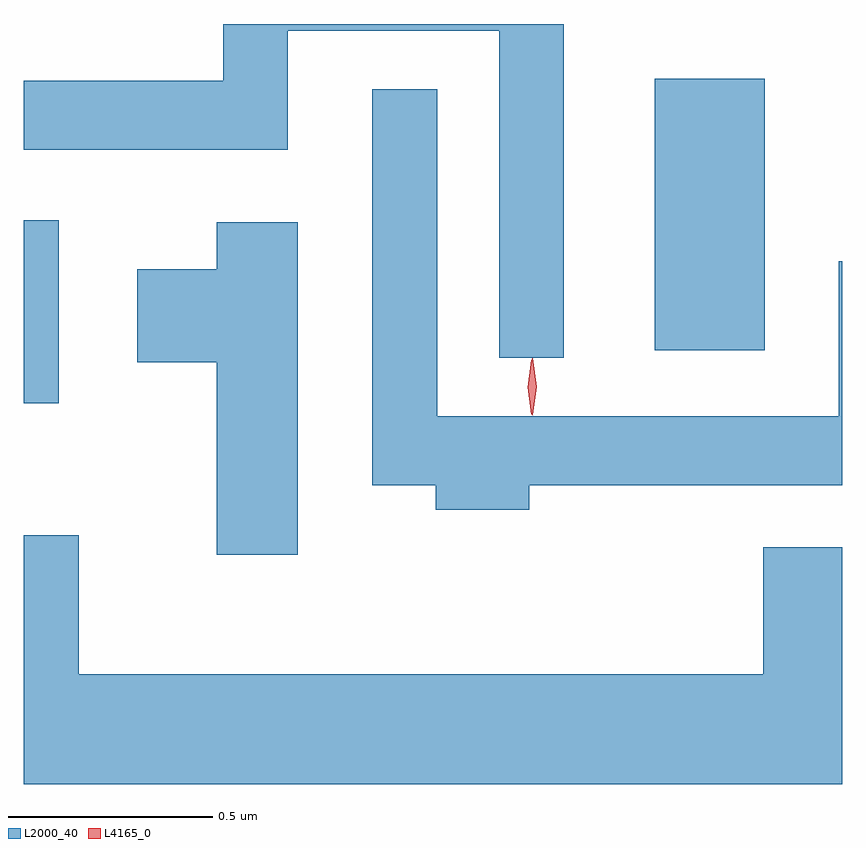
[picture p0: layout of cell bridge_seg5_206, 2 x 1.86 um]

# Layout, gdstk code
import gdstk
lib = gdstk.Library(unit=1e-6, precision=1e-09)
def R(c, l, rs):  # rectangles x0, y0, x1, y1
    for r in rs: c.add(gdstk.rectangle(r[:2], r[2:], *l))
def P(c, l, *ps):  # polygons
    for p in ps: c.add(gdstk.Polygon(p, *l))
L2000_40 = (2000, 40)
L4165_0 = (4165, 0)

bridge_seg5_206 = lib.new_cell('bridge_seg5_206')
R(bridge_seg5_206, L2000_40, [(1302.254,1428.866,1302.339,1429.314), (1303.796,1428.996,1304.064,1429.659)])
P(bridge_seg5_206, L2000_40, [(1303.574,1429.793),(1302.741,1429.793),(1302.741,1429.654),(1302.254,1429.654),(1302.254,1429.486),(1302.899,1429.486),(1302.899,1429.776),(1303.416,1429.776),(1303.416,1428.978),(1303.574,1428.978)],
  [(1303.489,1428.666),(1304.254,1428.666),(1304.254,1429.213),(1304.246,1429.213),(1304.246,1428.834),(1303.264,1428.834),(1303.264,1429.633),(1303.106,1429.633),(1303.106,1428.666),(1303.261,1428.666),(1303.261,1428.606),(1303.489,1428.606)],
  [(1302.924,1429.309),(1302.726,1429.309),(1302.726,1429.194),(1302.531,1429.194),(1302.531,1428.966),(1302.726,1428.966),(1302.726,1428.496),(1302.924,1428.496)],
  [(1304.254,1428.514),(1304.061,1428.514),(1304.061,1428.204),(1302.389,1428.204),(1302.389,1428.544),(1302.254,1428.544),(1302.254,1427.936),(1304.254,1427.936)])
P(bridge_seg5_206, L4165_0, [(1303.498,1428.837),(1303.497,1428.838),(1303.488,1428.907),(1303.497,1428.976),(1303.498,1428.976),(1303.498,1428.976),(1303.508,1428.907),(1303.498,1428.838)],
  [(1303.495,1428.839),(1303.494,1428.84),(1303.485,1428.906),(1303.494,1428.972),(1303.495,1428.973),(1303.495,1428.972),(1303.505,1428.906),(1303.495,1428.84)])

lib.write_gds('bridge_seg5_206.gds')
